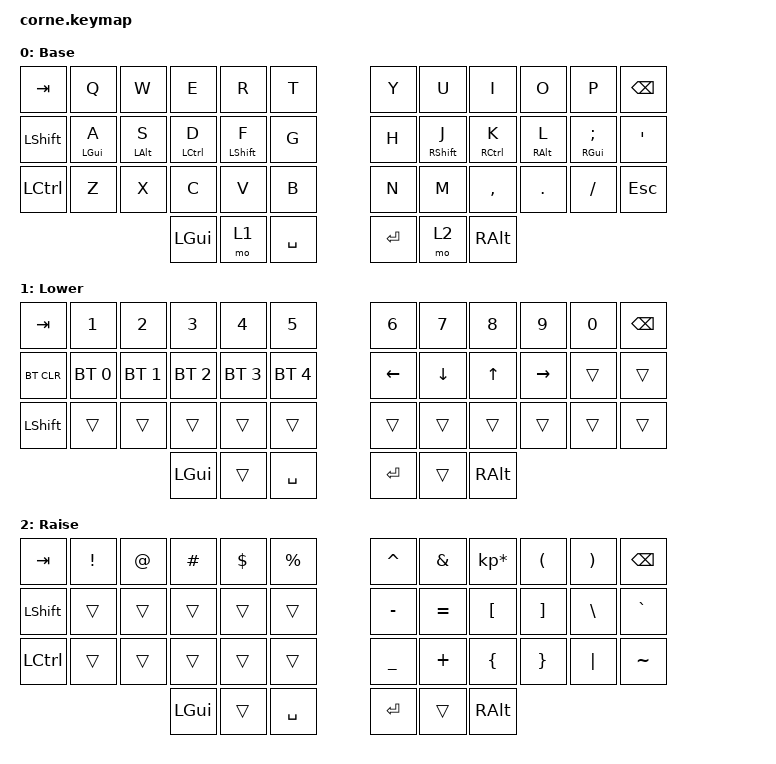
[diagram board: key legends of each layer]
/*
 * Copyright (c) 2020 The ZMK Contributors
 *
 * SPDX-License-Identifier: MIT
 */

#include <behaviors.dtsi>
#include <dt-bindings/zmk/bt.h>
#include <dt-bindings/zmk/keys.h>

/ {
    behaviors {
        Home_Row_Left: Home_Row_Left {
            compatible = "zmk,behavior-hold-tap";
            label = "HOME_ROW_LEFT";
            bindings = <&kp>, <&kp>;

            #binding-cells = <2>;
            hold-trigger-key-positions = <13 14 15 16>;
            tapping-term-ms = <280>;
            quick-tap-ms = <175>;
        };

        home_row_right: home_row_right {
            compatible = "zmk,behavior-hold-tap";
            label = "HOME_ROW_RIGHT";
            bindings = <&kp>, <&kp>;

            #binding-cells = <2>;
            tapping-term-ms = <280>;
            quick-tap-ms = <175>;
            hold-trigger-key-positions = <19 20 21 22>;
        };
    };

    keymap {
        compatible = "zmk,keymap";

        default_layer {
            // -----------------------------------------------------------------------------------------
            // |  TAB |  Q  |  W  |  E  |  R  |  T  |   |  Y  |  U   |  I  |  O  |  P  | BKSP |
            // | CTRL |  A  |  S  |  D  |  F  |  G  |   |  H  |  J   |  K  |  L  |  ;  |  '   |
            // | SHFT |  Z  |  X  |  C  |  V  |  B  |   |  N  |  M   |  ,  |  .  |  /  | ESC  |
            //                    | GUI | LWR | SPC |   | ENT | RSE  | ALT |

            display-name = "Base";
            bindings = <
&kp TAB           &kp Q                      &kp W                      &kp E                          &kp R                        &kp T        &kp Y    &kp U                          &kp I                            &kp O                        &kp P                           &kp BSPC
&kp LEFT_SHIFT    &Home_Row_Left LEFT_GUI A  &Home_Row_Left LEFT_ALT S  &Home_Row_Left LEFT_CONTROL D  &Home_Row_Left LEFT_SHIFT F  &kp G        &kp H    &home_row_right RIGHT_SHIFT J  &home_row_right RIGHT_CONTROL K  &home_row_right RIGHT_ALT L  &home_row_right RIGHT_GUI SEMI  &kp SQT
&kp LEFT_CONTROL  &kp Z                      &kp X                      &kp C                          &kp V                        &kp B        &kp N    &kp M                          &kp COMMA                        &kp DOT                      &kp FSLH                        &kp ESC
                                                                        &kp LGUI                       &mo 1                        &kp SPACE    &kp RET  &mo 2                          &kp RALT
            >;
        };

        lower_layer {
            // -----------------------------------------------------------------------------------------
            // |  TAB |  1  |  2  |  3  |  4  |  5  |   |  6  |  7  |  8  |  9  |  0  | BKSP |
            // | BTCLR| BT1 | BT2 | BT3 | BT4 | BT5 |   | LFT | DWN |  UP | RGT |     |      |
            // | SHFT |     |     |     |     |     |   |     |     |     |     |     |      |
            //                    | GUI |     | SPC |   | ENT |     | ALT |

            display-name = "Lower";
            bindings = <
&kp TAB     &kp N1        &kp N2        &kp N3        &kp N4        &kp N5          &kp N6    &kp N7    &kp N8    &kp N9     &kp N0  &kp BSPC
&bt BT_CLR  &bt BT_SEL 0  &bt BT_SEL 1  &bt BT_SEL 2  &bt BT_SEL 3  &bt BT_SEL 4    &kp LEFT  &kp DOWN  &kp UP    &kp RIGHT  &trans  &trans
&kp LSHFT   &trans        &trans        &trans        &trans        &trans          &trans    &trans    &trans    &trans     &trans  &trans
                                        &kp LGUI      &trans        &kp SPACE       &kp RET   &trans    &kp RALT
            >;
        };

        raise_layer {
            // -----------------------------------------------------------------------------------------
            // |  TAB |  !  |  @  |  #  |  $  |  %  |   |  ^  |  &  |  *  |  (  |  )  | BKSP |
            // | CTRL |     |     |     |     |     |   |  -  |  =  |  [  |  ]  |  \  |  `   |
            // | SHFT |     |     |     |     |     |   |  _  |  +  |  {  |  }  | "|" |  ~   |
            //                    | GUI |     | SPC |   | ENT |     | ALT |

            display-name = "Raise";
            bindings = <
&kp TAB           &kp EXCL  &kp AT  &kp HASH  &kp DLLR  &kp PRCNT    &kp CARET  &kp AMPS   &kp KP_MULTIPLY  &kp LPAR  &kp RPAR  &kp BSPC
&kp LEFT_SHIFT    &trans    &trans  &trans    &trans    &trans       &kp MINUS  &kp EQUAL  &kp LBKT         &kp RBKT  &kp BSLH  &kp GRAVE
&kp LEFT_CONTROL  &trans    &trans  &trans    &trans    &trans       &kp UNDER  &kp PLUS   &kp LBRC         &kp RBRC  &kp PIPE  &kp TILDE
                                    &kp LGUI  &trans    &kp SPACE    &kp RET    &trans     &kp RALT
            >;
        };

        extra_1 { status = "reserved"; };

        extra_2 { status = "reserved"; };

        extra_3 { status = "reserved"; };
    };
};
